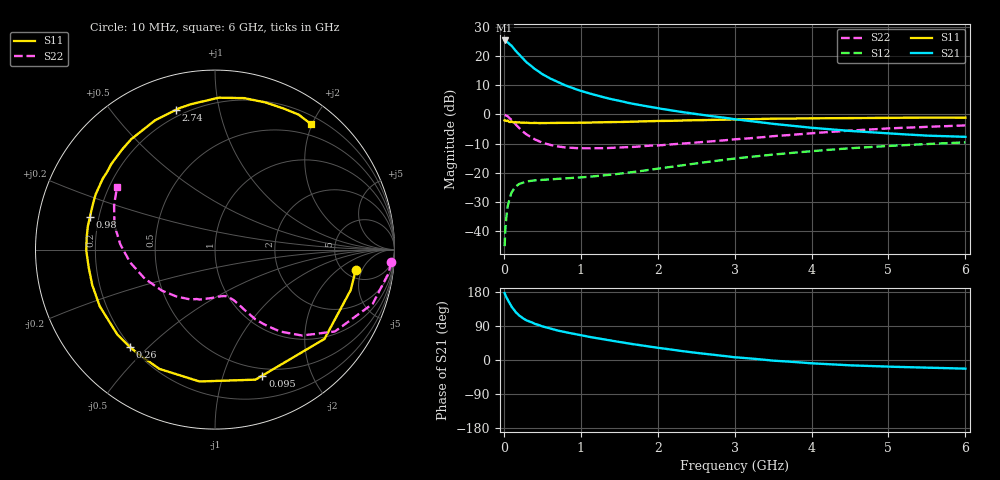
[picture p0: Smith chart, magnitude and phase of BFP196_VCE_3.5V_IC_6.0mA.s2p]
! Infineon Technologies  Discrete & RF Semiconductors
! BFP196
! VCE = 3.5 V,  IC = 6.0mA
! Common Emitter S-Parameters:  Jan 2016
# GHz  S  MA  R  50
!  f  S11  S21  S12  S22
! GHz  MAG  ANG  MAG  ANG  MAG  ANG  MAG  ANG
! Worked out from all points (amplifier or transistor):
!   210 points, 10 MHz to 6 GHz, reference 50 ohm
!   highest |S21| = 25.4 dB at 10 MHz (marker M1)
!   |S21| within 3 dB of that: start of sweep to 135.9 MHz
!   unconditionally stable (mu >= 1): 1.04 GHz to 3.332 GHz
!   at 185 MHz: K = 0.22, MSG = 22.5 dB, |S12| = -24.1 dB
!   at 1.52 GHz: K = 1.18, MAG = 9.8 dB, |S12| = -20.3 dB
!   at 6 GHz: K = 0.99, MSG = 0.9 dB, |S12| = -9.6 dB
!   S11 on the Smith chart (normalised r, x): 10 MHz: 6.18, -3.84; 95 MHz: 0.42, -1.36; 260 MHz: 0.19, -0.44; 980 MHz: 0.17, +0.12; 2.74 GHz: 0.17, +0.75; 6 GHz: 0.32, +1.99
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0.01  0.7919 -8.4  18.57 176.5  0.0055 87.6  0.9849 -4.1
0.02  0.7889 -16.6  18.13 170.8  0.0109 80.6  0.975 -7.9
0.05  0.7872 -39.2  17.3 158.5  0.0264 70.6  0.9289 -19.0
0.095  0.7499 -69.4  15.25 142.7  0.0437 56.7  0.8182 -32.6
0.1  0.7589 -72.7  15.11 140.7  0.0457 55.8  0.8091 -34.3
0.15  0.7398 -96.7  12.5 126.9  0.0575 44.9  0.6819 -44.6
0.2  0.7333 -115.0  10.61 117.3  0.0643 38.4  0.5834 -51.5
0.26  0.7211 -131.0  8.722 108.6  0.0684 32.7  0.4928 -57.0
0.3  0.7213 -138.9  7.758 104.1  0.071 30.4  0.4495 -59.9
0.4  0.7157 -153.8  6.06 95.7  0.074 26.7  0.3741 -63.9
0.5  0.7118 -163.9  4.914 88.8  0.0757 25.4  0.3281 -67.0
0.6  0.7108 -172.2  4.151 83.1  0.0773 25.2  0.2995 -69.8
0.7  0.717 -179.5  3.595 77.8  0.0784 25.2  0.2829 -72.4
0.98  0.72 165.4  2.589 66.1  0.0829 27.8  0.2636 -79.1
1.02  0.7213 163.4  2.491 64.5  0.0835 28.3  0.2629 -80.2
1.4  0.7398 147.7  1.826 50.9  0.0926 33.4  0.2677 -91.4
2.02  0.7724 126.6  1.267 31.8  0.1182 39.3  0.2949 -110.9
2.74  0.8083 105.6  0.923 13.4  0.1589 39.3  0.3485 -134.3
3.1  0.8239 97.1  0.8 5.8  0.1809 36.7  0.3817 -145.7
4.1  0.8596 77.5  0.577 -9.7  0.2398 27.0  0.4865 -173.9
5.1  0.8751 63.0  0.464 -18.1  0.2926 14.9  0.5825 164.2
6  0.8805 52.5  0.413 -22.8  0.3321 3.4  0.6485 147.3
